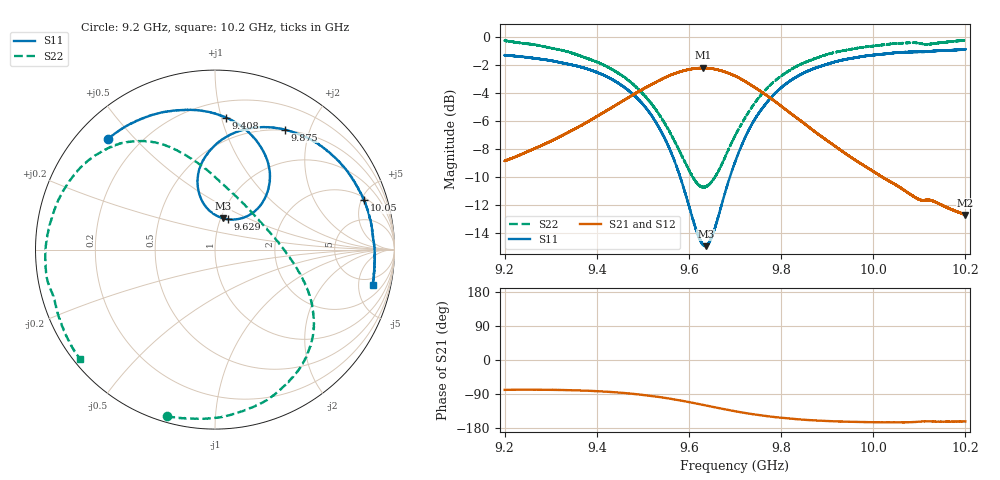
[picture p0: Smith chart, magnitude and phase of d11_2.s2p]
!Agilent Technologies,N5242A,MY51221714,A.09.90.19
!Agilent N5242A: A.09.90.19
!Date: Tuesday, March 26, 2024 16:30:25
!Correction: S11(Full 2 Port(1,2))
!S21(Full 2 Port(1,2))
!S12(Full 2 Port(1,2))
!S22(Full 2 Port(1,2))
!S2P File: Measurements: S11, S21, S12, S22:
# Hz S  dB  R 50
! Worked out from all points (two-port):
!   16001 points, 9.2 GHz to 10.2 GHz, reference 50 ohm
!   highest |S21| = -2.22 dB at 9.631 GHz (marker M1); lowest = -12.7 dB at 10.2 GHz (marker M2)
!   |S21| within 3 dB of the highest: 9.423745 GHz to 9.423904 GHz (159.1 kHz wide, 0.00169 % of centre); 9.424 GHz to 9.811 GHz (386.9 MHz wide, 4.02 % of centre)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
!   lowest |S11| = -14.9 dB at 9.637 GHz (marker M3), VSWR 1.44, Z = 51.1 + j18.4 ohm
!   |S11| at or under -10 dB: 9.581 GHz to 9.689 GHz (107.7 MHz wide, 1.12 % of centre); 9.688827 GHz to 9.688896 GHz (69.14 kHz wide, 0.000714 % of centre); 9.688988 GHz to 9.68901 GHz (21.85 kHz wide, 0.000225 % of centre)
!   |S22| runs from -10.8 to -0.3 dB; largest |S21 - S12| = 0.0098
!   S11 on the Smith chart (normalised r, x): 9.2 GHz: 0.09, +0.42; 9.408 GHz: 0.32, +1.04; 9.629 GHz: 1.08, +0.38; 9.875 GHz: 0.49, +1.63; 10.05 GHz: 2.24, +5.28; 10.2 GHz: 3.55, -7.38
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9.2e9  -1.34 134.3  -8.85 -78.8  -8.83 -79.6  -0.29 -106.1
9.278562e9  -1.62 116.8  -7.77 -78.5  -7.77 -79.2  -0.66 -85.1
9.366688e9  -2.18 95.7  -6.33 -80.6  -6.31 -81.2  -1.41 -62.7
9.407562e9  -2.63 85.1  -5.54 -82.7  -5.53 -83.4  -1.91 -52.7
9.478312e9  -4.11 65.7  -4.15 -89.2  -4.16 -89.9  -3.38 -35.7
9.533375e9  -6.39 50.8  -3.16 -97.2  -3.16 -97.9  -5.43 -20.6
9.587438e9  -10.66 44.3  -2.44 -108.2  -2.44 -108.8  -8.67 3.2
9.628938e9  -14.75 67.4  -2.24 -118.1  -2.25 -118.6  -10.70 39.6
9.630812e9  -14.81 69.6  -2.22 -118.5  -2.23 -119.1  -10.69 41.6
9.636562e9  -14.92 76.2  -2.26 -119.9  -2.25 -120.5  -10.68 47.8
9.653062e9  -13.96 92.8  -2.31 -124.0  -2.30 -124.5  -10.18 64.1
9.7e9  -8.95 105.5  -2.80 -135.1  -2.79 -135.7  -7.07 95.4
9.738562e9  -6.14 98.2  -3.54 -142.9  -3.53 -143.6  -4.94 108.7
9.78925e9  -3.97 84.0  -4.68 -151.0  -4.68 -151.7  -3.08 120.8
9.866688e9  -2.34 62.1  -6.59 -159.0  -6.61 -159.5  -1.65 137.6
9.87475e9  -2.25 59.9  -6.82 -159.5  -6.82 -160.1  -1.56 139.4
9.960812e9  -1.51 38.1  -8.79 -163.3  -8.79 -163.8  -0.85 158.9
1.003338e10  -1.21 21.5  -10.27 -164.3  -10.26 -165.0  -0.55 176.3
1.004719e10  -1.15 18.3  -10.52 -164.4  -10.52 -164.9  -0.50 179.6
1.009725e10  -1.08 7.7  -11.55 -163.0  -11.56 -163.7  -0.47 -168.5
1.019975e10  -0.92 -12.6  -12.70 -162.3  -12.69 -162.8  -0.29 -140.9
1.02e10  -0.91 -12.6  -12.69 -162.2  -12.68 -162.7  -0.29 -140.8
